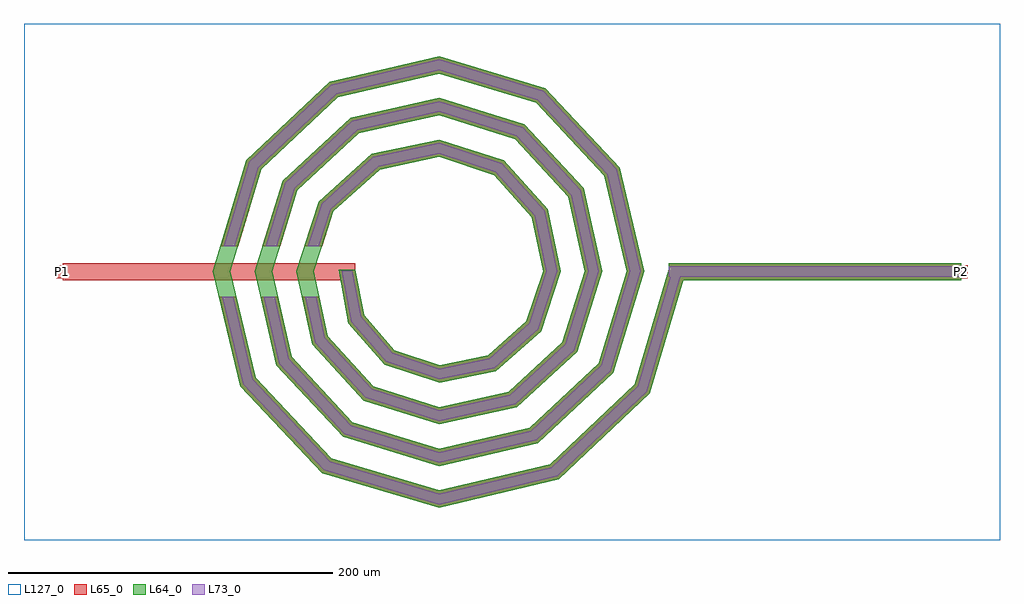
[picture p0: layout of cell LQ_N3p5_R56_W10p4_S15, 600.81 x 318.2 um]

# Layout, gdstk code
import gdstk
lib = gdstk.Library(unit=1e-6, precision=1e-09)
def R(c, l, rs):  # rectangles x0, y0, x1, y1
    for r in rs: c.add(gdstk.rectangle(r[:2], r[2:], *l))
def P(c, l, *ps):  # polygons
    for p in ps: c.add(gdstk.Polygon(p, *l))
L64_0 = (64, 0)
L65_0 = (65, 0)
L73_0 = (73, 0)
L127_0 = (127, 0)

lq_n3p5_r56_w10p4_s15 = lib.new_cell('LQ_N3p5_R56_W10p4_S15')
R(lq_n3p5_r56_w10p4_s15, L64_0, [(141.365,-5.2,321.365,5.2)])
P(lq_n3p5_r56_w10p4_s15, L64_0, [(-46.073,-27.022),(-27.471,-48.286),(0.341,-57.692),(30.202,-51.652),(53.83,-30.71),(64.113,0.309),(57.228,33.387),(33.945,59.377),(0.283,70.535),(-36.576,62.801),(-64.927,37.176),(-76.957,0.261),(-68.374,-39.769),(-40.404,-70.479),(0.242,-83.379),(42.965,-73.944),(76.032,-43.63),(89.802,0.226),(79.514,46.163),(46.855,81.587),(0.212,96.224),(-49.362,85.083),(-87.142,50.077),(-102.647,0.199),(-90.651,-52.563),(-53.298,-92.699),(0.188,-109.069),(55.765,-96.219),(98.256,-56.519),(115.492,0.178),(101.786,58.968),(59.738,103.813),(0.169,121.915),(-62.172,107.352),(-109.371,62.957),(-128.338,0.161),(-112.919,-65.376),(-66.175,-114.93),(0.153,-134.76),(68.581,-118.484),(120.488,-69.392),(141.581,1.483),(151.549,-1.483),(129.661,-75.032),(73.701,-127.957),(0.153,-145.523),(-71.826,-124.095),(-122.398,-70.484),(-139.1,0.161),(-118.528,68.621),(-67.265,116.839),(0.169,132.677),(65.417,112.962),(111.281,64.046),(126.254,0.178),(107.394,-62.213),(60.826,-105.723),(0.188,-119.831),(-59.011,-101.826),(-100.166,-57.605),(-113.407,0.199),(-96.258,55.809),(-54.383,94.609),(0.212,106.984),(52.609,90.689),(89.053,51.16),(100.561,0.226),(85.118,-49.41),(47.934,-83.498),(0.242,-94.137),(-46.213,-79.547),(-77.944,-44.707),(-87.713,0.261),(-73.974,43.018),(-41.477,72.391),(0.283,81.289),(39.826,68.399),(66.84,38.244),(74.865,0.309),(62.821,-36.638),(35.006,-61.291),(0.341,-68.441),(-33.455,-57.24),(-55.744,-31.762),(-61.747,0.996),(-51.54,0.996)])
R(lq_n3p5_r56_w10p4_s15, L65_0, [(-231.443,-5.2,-51.443,5.2), (141.365,-5.2,321.365,5.2), (-235.443,-4,-227.443,4), (317.365,-4,325.365,4)])
P(lq_n3p5_r56_w10p4_s15, L65_0, [(-112.919,-65.376),(-66.175,-114.93),(0.153,-134.76),(68.582,-118.484),(120.489,-69.392),(141.581,1.483),(151.549,-1.483),(129.661,-75.032),(73.701,-127.957),(0.153,-145.523),(-71.826,-124.095),(-122.398,-70.484),(-135.374,-15.6),(-124.687,-15.6)],
  [(-90.651,-52.563),(-53.299,-92.699),(0.188,-109.069),(55.765,-96.219),(98.256,-56.519),(115.492,0.178),(101.786,58.968),(59.738,103.813),(0.169,121.915),(-62.172,107.352),(-109.371,62.957),(-123.602,15.6),(-134.461,15.6),(-118.529,68.621),(-67.265,116.839),(0.169,132.677),(65.417,112.962),(111.281,64.046),(126.254,0.178),(107.394,-62.213),(60.826,-105.723),(0.188,-119.831),(-59.011,-101.827),(-100.166,-57.605),(-109.788,-15.6),(-99.119,-15.6)],
  [(-68.374,-39.769),(-40.405,-70.479),(0.242,-83.379),(42.965,-73.945),(76.032,-43.63),(89.802,0.226),(79.514,46.163),(46.855,81.587),(0.212,96.224),(-49.362,85.083),(-87.142,50.077),(-97.775,15.6),(-108.658,15.6),(-96.258,55.809),(-54.383,94.609),(0.212,106.984),(52.609,90.689),(89.053,51.16),(100.561,0.226),(85.118,-49.41),(47.934,-83.498),(0.242,-94.137),(-46.213,-79.547),(-77.944,-44.707),(-84.267,-15.6),(-73.625,-15.6)],
  [(-27.471,-48.286),(0.341,-57.692),(30.202,-51.652),(53.83,-30.71),(64.114,0.309),(57.228,33.387),(33.945,59.377),(0.283,70.535),(-36.576,62.802),(-64.927,37.176),(-71.86,15.6),(-82.784,15.6),(-73.974,43.018),(-41.477,72.391),(0.283,81.289),(39.826,68.399),(66.84,38.244),(74.865,0.309),(62.821,-36.638),(35.006,-61.291),(0.341,-68.441),(-33.455,-57.24),(-55.744,-31.762),(-61.747,0.996),(-51.54,0.996),(-46.073,-27.022)])
R(lq_n3p5_r56_w10p4_s15, L73_0, [(141.365,-3.2,321.365,3.2)])
P(lq_n3p5_r56_w10p4_s15, L73_0, [(-114.742,-66.359),(-67.262,-116.692),(0.094,-136.83),(69.566,-120.306),(122.252,-70.477),(143.498,0.913),(149.632,0.913),(127.897,-73.947),(72.717,-126.135),(0.094,-143.454),(-70.739,-122.332),(-120.575,-69.501),(-133.319,-15.6),(-126.742,-15.6)],
  [(-92.481,-53.533),(-54.397,-94.454),(0.116,-111.139),(56.738,-98.047),(100.013,-57.614),(117.562,0.11),(103.612,59.944),(60.83,105.573),(0.104,123.985),(-63.151,109.177),(-111.132,64.046),(-125.69,15.6),(-132.373,15.6),(-116.768,67.532),(-66.286,115.015),(0.104,130.607),(64.325,111.202),(109.455,63.07),(124.184,0.11),(105.637,-61.118),(59.853,-103.895),(0.116,-117.761),(-57.912,-100.071),(-98.336,-56.636),(-107.736,-15.6),(-101.171,-15.6)],
  [(-70.214,-40.719),(-41.521,-72.223),(0.149,-85.448),(43.921,-75.782),(77.78,-44.742),(91.871,0.139),(81.349,47.124),(47.961,83.337),(0.13,98.293),(-50.328,86.915),(-88.895,51.179),(-99.868,15.6),(-106.565,15.6),(-94.505,54.707),(-53.418,92.777),(0.13,104.915),(51.502,88.938),(87.218,50.199),(98.492,0.139),(83.371,-48.298),(46.979,-81.66),(0.149,-92.068),(-45.096,-77.803),(-76.103,-43.757),(-82.221,-15.6),(-75.671,-15.6)],
  [(-28.621,-50.008),(0.21,-59.759),(31.125,-53.505),(55.559,-31.85),(66.181,0.19),(59.076,34.321),(35.076,61.112),(0.174,72.603),(-37.519,64.646),(-66.667,38.3),(-73.961,15.6),(-80.683,15.6),(-72.234,41.895),(-40.535,70.547),(0.174,79.221),(38.695,66.664),(64.991,37.31),(72.798,0.19),(61.092,-35.498),(34.082,-59.437),(0.21,-66.374),(-32.304,-55.518),(-53.885,-30.851),(-59.784,0.613),(-53.503,0.613),(-47.933,-27.934)])
R(lq_n3p5_r56_w10p4_s15, L127_0, [(-255.443,-165.523,345.365,152.677)])
lq_n3p5_r56_w10p4_s15.add(gdstk.Label('P2', (321.365,0), layer=65, texttype=0))
lq_n3p5_r56_w10p4_s15.add(gdstk.Label('P1', (-231.443,0), layer=65, texttype=0))
lq_n3p5_r56_w10p4_s15.add(gdstk.Label('P2', (325.365,0), layer=145, texttype=0))
lq_n3p5_r56_w10p4_s15.add(gdstk.Label('P1', (-235.443,0), layer=145, texttype=0))

lib.write_gds('LQ_N3p5_R56_W10p4_S15.gds')
